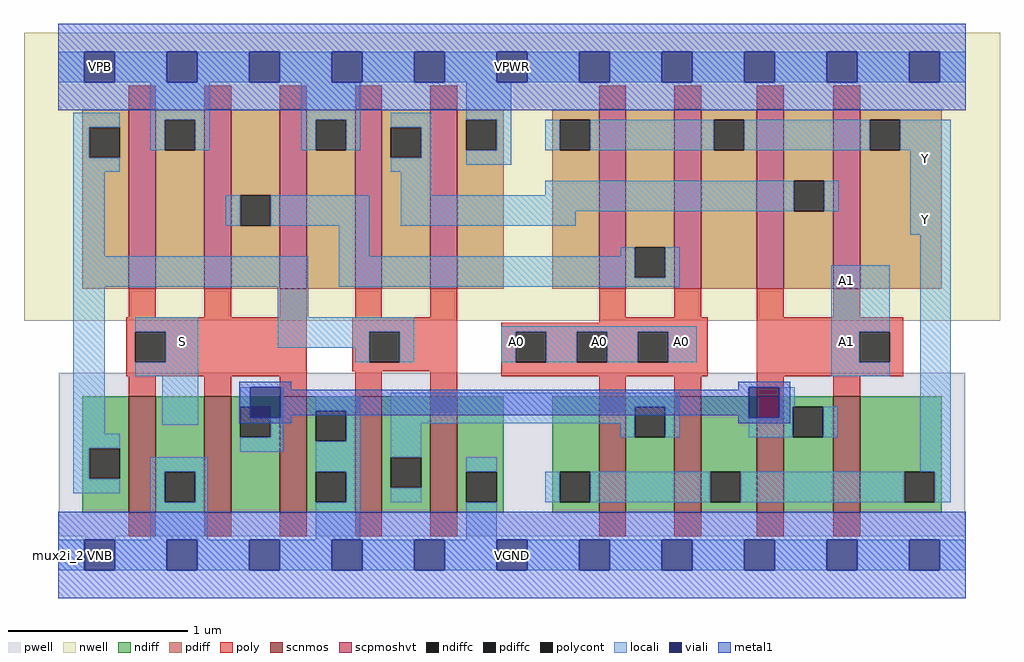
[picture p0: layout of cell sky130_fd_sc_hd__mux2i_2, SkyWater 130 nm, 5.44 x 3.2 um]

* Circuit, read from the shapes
.subckt sky130_fd_sc_hd__mux2i_2 A0 A1 S VGND VNB VPB VPWR Y
XM1 VGND S n1 VNB sky130_fd_pr__nfet_01v8 w=0.65 l=0.15
XM2 n2 S VGND VNB sky130_fd_pr__nfet_01v8 w=0.65 l=0.15 m=2
XM3 n3 n1 VGND VNB sky130_fd_pr__nfet_01v8 w=0.65 l=0.15 m=2
XM4 n3 A0 Y VNB sky130_fd_pr__nfet_01v8 w=0.65 l=0.15 m=2
XM5 n2 A1 Y VNB sky130_fd_pr__nfet_01v8 w=0.65 l=0.15 m=2
XM6 VPWR S n1 VPB sky130_fd_pr__pfet_01v8_hvt w=1 l=0.15
XM7 n4 S VPWR VPB sky130_fd_pr__pfet_01v8_hvt w=1 l=0.15 m=2
XM8 n5 n1 VPWR VPB sky130_fd_pr__pfet_01v8_hvt w=1 l=0.15 m=2
XM9 n4 A0 Y VPB sky130_fd_pr__pfet_01v8_hvt w=1 l=0.15 m=2
XM10 n5 A1 Y VPB sky130_fd_pr__pfet_01v8_hvt w=1 l=0.15 m=2
.ends

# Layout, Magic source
magic
tech sky130A
magscale 1 2
<< nwell >>
rect -38 261 1050 582
<< pwell >>
rect 1 21 1011 203
rect 30 -17 64 21
<< scnmos >>
rect 79 47 109 177
rect 163 47 193 177
rect 247 47 277 177
rect 331 47 361 177
rect 415 47 445 177
rect 603 47 633 177
rect 687 47 717 177
rect 779 47 809 177
rect 864 47 894 177
<< scpmoshvt >>
rect 79 297 109 497
rect 163 297 193 497
rect 247 297 277 497
rect 331 297 361 497
rect 415 297 445 497
rect 603 297 633 497
rect 687 297 717 497
rect 779 297 809 497
rect 864 297 894 497
<< ndiff >>
rect 27 119 79 177
rect 27 85 35 119
rect 69 85 79 119
rect 27 47 79 85
rect 109 93 163 177
rect 109 59 119 93
rect 153 59 163 93
rect 109 47 163 59
rect 193 165 247 177
rect 193 131 203 165
rect 237 131 247 165
rect 193 47 247 131
rect 277 161 331 177
rect 277 127 287 161
rect 321 127 331 161
rect 277 93 331 127
rect 277 59 287 93
rect 321 59 331 93
rect 277 47 331 59
rect 361 109 415 177
rect 361 75 371 109
rect 405 75 415 109
rect 361 47 415 75
rect 445 93 497 177
rect 445 59 455 93
rect 489 59 497 93
rect 445 47 497 59
rect 551 93 603 177
rect 551 59 559 93
rect 593 59 603 93
rect 551 47 603 59
rect 633 165 687 177
rect 633 131 643 165
rect 677 131 687 165
rect 633 47 687 131
rect 717 93 779 177
rect 717 59 727 93
rect 761 59 779 93
rect 717 47 779 59
rect 809 165 864 177
rect 809 131 819 165
rect 853 131 864 165
rect 809 47 864 131
rect 894 93 985 177
rect 894 59 943 93
rect 977 59 985 93
rect 894 47 985 59
<< pdiff >>
rect 27 477 79 497
rect 27 443 35 477
rect 69 443 79 477
rect 27 297 79 443
rect 109 485 163 497
rect 109 451 119 485
rect 153 451 163 485
rect 109 297 163 451
rect 193 401 247 497
rect 193 367 203 401
rect 237 367 247 401
rect 193 297 247 367
rect 277 485 331 497
rect 277 451 287 485
rect 321 451 331 485
rect 277 297 331 451
rect 361 477 415 497
rect 361 443 371 477
rect 405 443 415 477
rect 361 297 415 443
rect 445 485 497 497
rect 445 451 455 485
rect 489 451 497 485
rect 445 297 497 451
rect 551 485 603 497
rect 551 451 559 485
rect 593 451 603 485
rect 551 297 603 451
rect 633 343 687 497
rect 633 309 643 343
rect 677 309 687 343
rect 633 297 687 309
rect 717 485 779 497
rect 717 451 731 485
rect 765 451 779 485
rect 717 297 779 451
rect 809 417 864 497
rect 809 383 820 417
rect 854 383 864 417
rect 809 297 864 383
rect 894 485 985 497
rect 894 451 905 485
rect 939 451 985 485
rect 894 297 985 451
<< ndiffc >>
rect 35 85 69 119
rect 119 59 153 93
rect 203 131 237 165
rect 287 127 321 161
rect 287 59 321 93
rect 371 75 405 109
rect 455 59 489 93
rect 559 59 593 93
rect 643 131 677 165
rect 727 59 761 93
rect 819 131 853 165
rect 943 59 977 93
<< pdiffc >>
rect 35 443 69 477
rect 119 451 153 485
rect 203 367 237 401
rect 287 451 321 485
rect 371 443 405 477
rect 455 451 489 485
rect 559 451 593 485
rect 643 309 677 343
rect 731 451 765 485
rect 820 383 854 417
rect 905 451 939 485
<< poly >>
rect 79 497 109 523
rect 163 497 193 523
rect 247 497 277 523
rect 331 497 361 523
rect 415 497 445 523
rect 603 497 633 523
rect 687 497 717 523
rect 779 497 809 523
rect 864 497 894 523
rect 79 265 109 297
rect 163 265 193 297
rect 247 265 277 297
rect 331 265 361 297
rect 415 265 445 297
rect 76 249 277 265
rect 76 215 86 249
rect 120 215 277 249
rect 76 199 277 215
rect 328 249 445 265
rect 603 265 633 297
rect 687 265 717 297
rect 779 265 809 297
rect 864 265 894 297
rect 603 259 724 265
rect 328 215 347 249
rect 381 215 445 249
rect 328 205 445 215
rect 79 177 109 199
rect 163 177 193 199
rect 247 177 277 199
rect 331 177 361 205
rect 415 177 445 205
rect 494 249 724 259
rect 494 215 510 249
rect 544 215 578 249
rect 612 215 646 249
rect 680 215 724 249
rect 494 199 724 215
rect 779 249 942 265
rect 779 215 893 249
rect 927 215 942 249
rect 779 199 942 215
rect 603 177 633 199
rect 687 177 717 199
rect 779 177 809 199
rect 864 177 894 199
rect 79 21 109 47
rect 163 21 193 47
rect 247 21 277 47
rect 331 21 361 47
rect 415 21 445 47
rect 603 21 633 47
rect 687 21 717 47
rect 779 21 809 47
rect 864 21 894 47
<< polycont >>
rect 86 215 120 249
rect 347 215 381 249
rect 510 215 544 249
rect 578 215 612 249
rect 646 215 680 249
rect 893 215 927 249
<< locali >>
rect 0 527 29 561
rect 63 527 121 561
rect 155 527 213 561
rect 247 527 305 561
rect 339 527 397 561
rect 431 527 489 561
rect 523 527 581 561
rect 615 527 673 561
rect 707 527 765 561
rect 799 527 857 561
rect 891 527 949 561
rect 983 527 1012 561
rect 17 477 69 493
rect 17 443 35 477
rect 103 485 169 527
rect 103 451 119 485
rect 153 451 169 485
rect 271 485 337 527
rect 271 451 287 485
rect 321 451 337 485
rect 371 477 416 493
rect 17 427 69 443
rect 405 443 416 477
rect 371 427 416 443
rect 455 485 505 527
rect 489 451 505 485
rect 543 451 559 485
rect 593 451 731 485
rect 765 451 905 485
rect 939 451 995 485
rect 455 435 505 451
rect 17 333 52 427
rect 382 401 416 427
rect 543 401 820 417
rect 187 367 203 401
rect 237 367 347 401
rect 382 383 820 401
rect 854 383 870 417
rect 382 367 577 383
rect 313 333 347 367
rect 950 357 995 451
rect 627 333 643 343
rect 17 299 279 333
rect 313 309 643 333
rect 677 309 693 343
rect 313 299 693 309
rect 17 135 52 299
rect 245 265 279 299
rect 86 249 156 265
rect 120 215 156 249
rect 245 249 397 265
rect 245 231 347 249
rect 331 215 347 231
rect 381 215 397 249
rect 494 249 712 255
rect 494 215 510 249
rect 544 215 578 249
rect 612 215 646 249
rect 680 215 712 249
rect 862 249 927 323
rect 862 215 893 249
rect 86 199 156 215
rect 862 199 927 215
rect 116 145 156 199
rect 203 165 214 187
rect 248 153 251 187
rect 17 119 69 135
rect 17 85 35 119
rect 237 131 251 153
rect 203 115 251 131
rect 287 161 337 177
rect 321 127 337 161
rect 17 69 69 85
rect 103 93 167 109
rect 103 59 119 93
rect 153 59 167 93
rect 103 17 167 59
rect 287 93 337 127
rect 321 59 337 93
rect 371 165 693 181
rect 371 147 643 165
rect 371 109 405 147
rect 627 131 643 147
rect 677 131 693 165
rect 804 165 821 187
rect 804 153 819 165
rect 770 131 819 153
rect 853 131 869 165
rect 371 59 405 75
rect 455 93 489 109
rect 961 93 995 357
rect 543 59 559 93
rect 593 59 727 93
rect 761 59 943 93
rect 977 59 995 93
rect 287 17 337 59
rect 455 17 489 59
rect 0 -17 29 17
rect 63 -17 121 17
rect 155 -17 213 17
rect 247 -17 305 17
rect 339 -17 397 17
rect 431 -17 489 17
rect 523 -17 581 17
rect 615 -17 673 17
rect 707 -17 765 17
rect 799 -17 857 17
rect 891 -17 949 17
rect 983 -17 1012 17
<< viali >>
rect 29 527 63 561
rect 121 527 155 561
rect 213 527 247 561
rect 305 527 339 561
rect 397 527 431 561
rect 489 527 523 561
rect 581 527 615 561
rect 673 527 707 561
rect 765 527 799 561
rect 857 527 891 561
rect 949 527 983 561
rect 214 165 248 187
rect 214 153 237 165
rect 237 153 248 165
rect 770 153 804 187
rect 29 -17 63 17
rect 121 -17 155 17
rect 213 -17 247 17
rect 305 -17 339 17
rect 397 -17 431 17
rect 489 -17 523 17
rect 581 -17 615 17
rect 673 -17 707 17
rect 765 -17 799 17
rect 857 -17 891 17
rect 949 -17 983 17
<< metal1 >>
rect 0 561 1012 592
rect 0 527 29 561
rect 63 527 121 561
rect 155 527 213 561
rect 247 527 305 561
rect 339 527 397 561
rect 431 527 489 561
rect 523 527 581 561
rect 615 527 673 561
rect 707 527 765 561
rect 799 527 857 561
rect 891 527 949 561
rect 983 527 1012 561
rect 0 496 1012 527
rect 202 187 260 193
rect 202 153 214 187
rect 248 184 260 187
rect 758 187 816 193
rect 758 184 770 187
rect 248 156 770 184
rect 248 153 260 156
rect 202 147 260 153
rect 758 153 770 156
rect 804 153 816 187
rect 758 147 816 153
rect 0 17 1012 48
rect 0 -17 29 17
rect 63 -17 121 17
rect 155 -17 213 17
rect 247 -17 305 17
rect 339 -17 397 17
rect 431 -17 489 17
rect 523 -17 581 17
rect 615 -17 673 17
rect 707 -17 765 17
rect 799 -17 857 17
rect 891 -17 949 17
rect 983 -17 1012 17
rect 0 -48 1012 -17
<< labels >>
flabel locali s 950 425 984 459 0 FreeSans 200 0 0 0 Y
port 8 nsew signal output
flabel locali s 862 289 896 323 0 FreeSans 200 0 0 0 A1
port 2 nsew signal input
flabel locali s 862 221 896 255 0 FreeSans 200 0 0 0 A1
port 2 nsew signal input
flabel locali s 950 357 984 391 0 FreeSans 200 0 0 0 Y
port 8 nsew signal output
flabel locali s 494 221 528 255 0 FreeSans 200 0 0 0 A0
port 1 nsew signal input
flabel locali s 586 221 620 255 0 FreeSans 200 0 0 0 A0
port 1 nsew signal input
flabel locali s 678 221 712 255 0 FreeSans 200 0 0 0 A0
port 1 nsew signal input
flabel locali s 122 221 156 255 0 FreeSans 200 0 0 0 S
port 3 nsew signal input
flabel pwell s 30 -17 64 17 0 FreeSans 200 0 0 0 VNB
port 5 nsew ground bidirectional
flabel nwell s 30 527 64 561 0 FreeSans 200 0 0 0 VPB
port 6 nsew power bidirectional
flabel metal1 s 30 527 64 561 0 FreeSans 200 0 0 0 VPWR
port 7 nsew power bidirectional abutment
flabel metal1 s 30 -17 64 17 0 FreeSans 200 0 0 0 VGND
port 4 nsew ground bidirectional abutment
rlabel comment s 0 0 0 0 4 mux2i_2
rlabel metal1 s 0 -48 1012 48 1 VGND
port 4 nsew ground bidirectional abutment
rlabel metal1 s 0 496 1012 592 1 VPWR
port 7 nsew power bidirectional abutment
<< properties >>
string FIXED_BBOX 0 0 1012 544
string GDS_END 1713538
string GDS_FILE $PDKPATH/libs.ref/sky130_fd_sc_hd/gds/sky130_fd_sc_hd.gds
string GDS_START 1705524
string LEFclass CORE
string LEFsite unithd
string LEFsymmetry X Y R90
string path 0.000 0.000 25.300 0.000 
<< end >>
